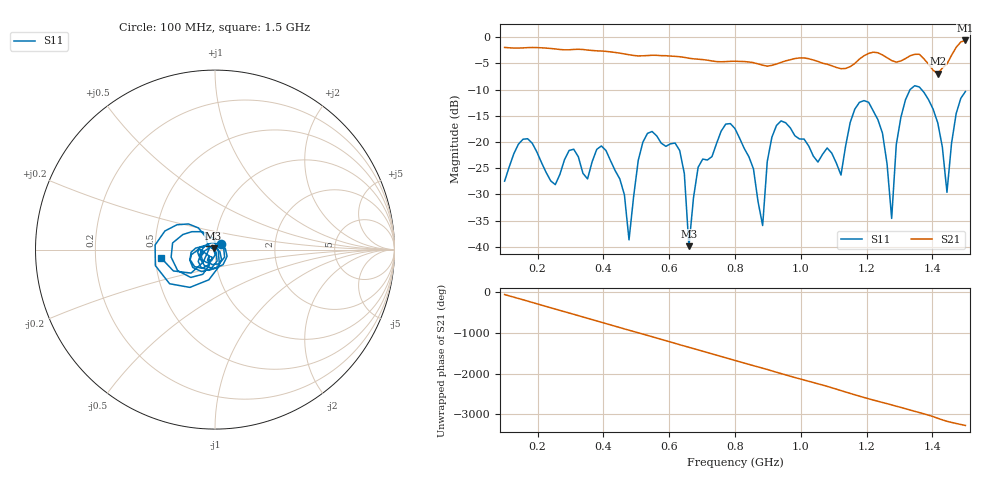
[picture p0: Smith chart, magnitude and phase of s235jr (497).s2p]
! NanoVNA-App
! Date: 2025-09-25 15:08:02
! Start: 100MHz Stop: 1,5GHz Points: 101
! S-Parameter data: F S11 S21 S12 S22
# Hz S RI R 50
!  Frequency  S11_Real  S11_Imag  S21_Real  S21_Imag  S12_Real  S12_Imag  S22_Real  S22_Imag
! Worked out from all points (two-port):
!   101 points, 100 MHz to 1.5 GHz, reference 50 ohm
!   highest |S21| = -0.64 dB at 1.5 GHz (marker M1); lowest = -7.0 dB at 1.416 GHz (marker M2)
!   |S21| within 3 dB of the highest: start of sweep to 608.8 MHz; 1.19 GHz to 1.254 GHz (64.08 MHz wide, 5.24 % of centre) (the widest 2 of 4)
!   lowest |S11| = -39.9 dB at 660 MHz (marker M3), VSWR 1.02, Z = 49.2 + j0.652 ohm
!   |S11| at or under -10 dB: start of sweep to 1.332 GHz; 1.367 GHz to end of sweep
!   S12 and S22 are empty: the file has one direction only
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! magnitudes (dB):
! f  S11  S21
! 100 MHz  -27.5  -2.0
! 170 MHz  -19.4  -2.0
! 338 MHz  -26.0  -2.4
! 408 MHz  -21.6  -2.7
! 478 MHz  -38.7  -3.4
! 520 MHz  -20.0  -3.6
! 576 MHz  -20.2  -3.5
! 632 MHz  -21.6  -3.7
! 660 MHz  -39.9  -4.0
! 688 MHz  -24.8  -4.2
! 800 MHz  -17.5  -4.6
! 884 MHz  -35.9  -5.3
! 926 MHz  -16.9  -5.1
! 1.038 GHz  -22.7  -4.4
! 1.122 GHz  -26.3  -6.0
! 1.206 GHz  -12.4  -3.1
! 1.276 GHz  -34.6  -4.5
! 1.29 GHz  -20.5  -4.8
! 1.332 GHz  -10.0  -3.6
! 1.416 GHz  -16.3  -7.0
! 1.444 GHz  -29.6  -5.1
! 1.5 GHz  -10.4  -0.6
